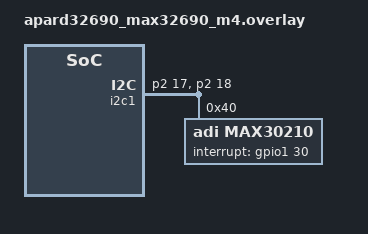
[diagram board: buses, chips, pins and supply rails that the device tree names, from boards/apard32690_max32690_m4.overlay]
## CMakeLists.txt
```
# SPDX-License-Identifier: Apache-2.0

cmake_minimum_required(VERSION 3.20.0)
find_package(Zephyr REQUIRED HINTS $ENV{ZEPHYR_BASE})
project(max30210)

FILE(GLOB app_sources src/*.c)

target_sources(app PRIVATE ${app_sources})
```

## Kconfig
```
source "Kconfig.zephyr"
```

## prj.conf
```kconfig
CONFIG_SENSOR=y
CONFIG_STDOUT_CONSOLE=y
# CONFIG_I2C=y
# CONFIG_MAX30210=y
CONFIG_FPU=y
CONFIG_MAX30210_TRIGGER_GLOBAL_THREAD=y
CONFIG_MAX30210_TRIGGER_NONE=n

# CONFIG_SHELL=y
# CONFIG_I2C_SHELL=y
```

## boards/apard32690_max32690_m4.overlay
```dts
/*
 * Copyright (c) 2025 Analog Devices Inc.
 *
 * SPDX-License-Identifier: Apache-2.0
 */

&i2c1a_sda_p2_17 {
	power-source = <MAX32_VSEL_VDDIOH>;
};

&i2c1a_scl_p2_18 {
	power-source = <MAX32_VSEL_VDDIOH>;
};

&i2c1 {
	pinctrl-0 = <&i2c1a_sda_p2_17 &i2c1a_scl_p2_18>;
	pinctrl-names = "default";
	status = "okay";

	max30210: max30210@40 {
		status = "okay";
    	compatible = "adi,max30210";
    	reg = <0x40>;
		interrupt-gpios = <&gpio1 30 0>;
		
  };
};
```

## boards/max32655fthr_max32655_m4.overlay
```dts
/*
 * Copyright (c) 2025 Analog Devices Inc.
 *
 * SPDX-License-Identifier: Apache-2.0
 */

&i2c2_scl_p0_30 {
	power-source = <MAX32_VSEL_VDDIOH>;
};

&i2c2_sda_p0_31 {
	power-source = <MAX32_VSEL_VDDIOH>;
};

&i2c2 {
	pinctrl-0 = <&i2c2_scl_p0_30 &i2c2_sda_p0_31>;
	pinctrl-names = "default";
	status = "okay";

	max30210: max30210@40 {
		status = "okay";
    	compatible = "adi,max30210";
    	reg = <0x40>;
		interrupt-gpios = <&gpio0 20 0>;
		
  };
};
```

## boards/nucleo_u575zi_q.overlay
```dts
/*
 * Copyright (c) 2025 Analog Devices Inc.
 *
 * SPDX-License-Identifier: Apache-2.0
 */

&i2c1 {
	pinctrl-0 = <&i2c1_scl_pb8 &i2c1_sda_pb9>;
	pinctrl-names = "default";
	status = "okay";
	clock-frequency = <I2C_BITRATE_FAST>;

	max30210: max30210@40 {
		status = "okay";
    	compatible = "adi,max30210";
    	reg = <0x40>;
		interrupt-gpios = <&gpiod 15 0>;
		
  };
};
```

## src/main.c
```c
/*
 * Copyright (c) 2025 Analog Devices Inc.
 *
 * SPDX-License-Identifier: Apache-2.0
 */

// #include <zephyr/drivers/sensor/max30011.h>
#include <stdio.h>

#include <zephyr/device.h>
#include <zephyr/kernel.h>
#include <zephyr/drivers/sensor.h>
#include <zephyr/drivers/sensor/max30210.h>
#include <zephyr/drivers/i2c.h>

#define MAX30210_NODE    DT_NODELABEL(max30210)
#define TRIGGER_SET_TEST 1

static const struct device *max30210_dev = DEVICE_DT_GET(MAX30210_NODE);

void handler(const struct device *dev, const struct sensor_trigger *trig)
{
	struct sensor_value temp_value;
	printf("Interrupt triggered: %s\n", dev->name);
	int ret = sensor_sample_fetch(dev);
	if (ret < 0) {
		printf("Failed to fetch sample: %d\n", ret);
		return;
	}
	ret = sensor_channel_get(dev, SENSOR_CHAN_AMBIENT_TEMP, &temp_value);
	if (ret < 0) {
		printf("Failed to get temperature channel: %d\n", ret);
		return;
	}
	uint8_t interrupt_status = 0;
	// ret = max30210_reg_read(dev, 0x00, &interrupt_status, 1); // Read interrupt status
	// register
	printf("Temperature is too High: %f C \n", sensor_value_to_float(&temp_value));
}

void new_temp_handler(const struct device *dev, const struct sensor_trigger *trig)
{
	struct sensor_value temp_value;
	printf("New temperature handler triggered: %s\n", dev->name);
	int ret = sensor_sample_fetch(dev);
	if (ret < 0) {
		printf("Failed to fetch sample: %d\n", ret);
		return;
	}
	ret = sensor_channel_get(dev, SENSOR_CHAN_AMBIENT_TEMP, &temp_value);
	if (ret < 0) {
		printf("Failed to get temperature channel: %d\n", ret);
		return;
	}
	printf("New Temperature is: %f C \n", sensor_value_to_float(&temp_value));
	// Read interrupt status register
}

int main(void)
{
	printf("Starting MAX30210 sample application\n");
	if (!device_is_ready(max30210_dev)) {
		printf("MAX30210 device not ready\n");
		return -ENODEV;
	}
	printf("MAX30210 device is ready: %s\n", max30210_dev->name);

	struct sensor_value temp_sampling_freq = {
		.val1 = 4, // Set your desired sampling frequency in Hz
		.val2 = 0};

	int ret = sensor_attr_set(max30210_dev, SENSOR_CHAN_AMBIENT_TEMP,
				  SENSOR_ATTR_MAX30210_CONTINUOUS_CONVERSION_MODE, NULL);
	ret = sensor_attr_set(max30210_dev, SENSOR_CHAN_AMBIENT_TEMP,
			      SENSOR_ATTR_SAMPLING_FREQUENCY, &temp_sampling_freq);

#if 0
	while (1){
	
	struct sensor_value temp_value;
	ret = sensor_sample_fetch(max30210_dev);
	if (ret < 0) {
		printf("Failed to fetch sample: %d\n", ret);
		return ret;
	}
	ret = sensor_channel_get(max30210_dev, SENSOR_CHAN_AMBIENT_TEMP, &temp_value);
	if (ret < 0) {
		printf("Failed to get temperature channel: %d\n", ret);
		return ret;
	}
	printf("Temperature is: %f C \n", sensor_value_to_float(&temp_value));
	}
	return 0;
#endif

	struct sensor_trigger trig = {.type = SENSOR_TRIG_THRESHOLD,
				      .chan = SENSOR_CHAN_AMBIENT_TEMP};

	ret = sensor_attr_set(max30210_dev, SENSOR_CHAN_AMBIENT_TEMP, SENSOR_ATTR_UPPER_THRESH,
			      &(struct sensor_value){.val1 = 34, .val2 = 0});
	if (ret < 0) {
		printf("Failed to set upper threshold: %d\n", ret);
		return ret;
	}
	ret = sensor_attr_set(max30210_dev, SENSOR_CHAN_AMBIENT_TEMP, SENSOR_ATTR_LOWER_THRESH,
			      &(struct sensor_value){.val1 = 20, .val2 = 0});
	if (ret < 0) {
		printf("Failed to set lower threshold: %d\n", ret);
		return ret;
	}

	ret = sensor_trigger_set(max30210_dev, &trig, handler);
	if (ret < 0) {
		printf("Failed to set trigger: %d\n", ret);
		return ret;
	}

	// uint8_t alarm_high_setup[2]={0x17, 0x70};
	// // ret = max30210_reg_write(max30210_dev, 0x22, alarm_high_setup[0], 1);
	// // if (ret < 0) {
	// // 	printf("Failed to write TEMP_ALARM_HIGH_SETUP: %d\n", ret);
	// // 	return ret;
	// // }
	// // ret = max30210_reg_write(max30210_dev, 0x23, alarm_high_setup[1], 1);
	// // if (ret < 0) {
	// // 	printf("Failed to write TEMP_ALARM_HIGH_MSB: %d\n", ret);
	// // 	return ret;
	// // }

	// ret = max30210_reg_write_multiple(max30210_dev, 0x22, alarm_high_setup, 2);
	// if (ret < 0) {
	// 	printf("Failed to write TEMP_ALARM_HIGH_SETUP: %d\n", ret);
	// 	return ret;
	// }
	// // ret = max30210_reg_write(max30210_dev, 0x22, alarm_high_setup, 2); // Clear
	// TEMP_ALARM_HIGH_SETUP register
	// // if (ret < 0) {
	// // 	printf("Failed to write TEMP_ALARM_HIGH_SETUP: %d\n", ret);
	// // 	return ret;
	// // }
	// ret = max30210_reg_read(max30210_dev, 0x22, alarm_high_setup, 2);
	// printf("Alarm High Setup: 0x%02X 0x%02X\n", alarm_high_setup[0], alarm_high_setup[1]);
#if 0
	while (1) {
		struct sensor_value temp_value;
		ret = sensor_sample_fetch(max30210_dev);
		if (ret < 0) {
			printf("Failed to fetch sample: %d\n", ret);
			return ret;
		}
		ret = sensor_channel_get(max30210_dev, SENSOR_CHAN_AMBIENT_TEMP, &temp_value);
		if (ret < 0) {
			printf("Failed to get temperature channel: %d\n", ret);
			return ret;
		}
		printf("Temperature is: %f C \n", sensor_value_to_float(&temp_value));
	}
#endif

	struct sensor_trigger new_temp_trig = {.type = SENSOR_TRIG_DATA_READY,
					       .chan = SENSOR_CHAN_AMBIENT_TEMP};

	ret = sensor_trigger_set(max30210_dev, &new_temp_trig, new_temp_handler);
	if (ret < 0) {
		printf("Failed to set trigger: %d\n", ret);
		return ret;
	}
	uint8_t interrupt_enable_setup = 0x00; // Initialize to 0x00
	ret = max30210_reg_read(max30210_dev, 0x02, &interrupt_enable_setup, 1);

	printf("Interrupt Enable Setup: 0x%02X\n", interrupt_enable_setup);
	while (1) {
	}
}
```
